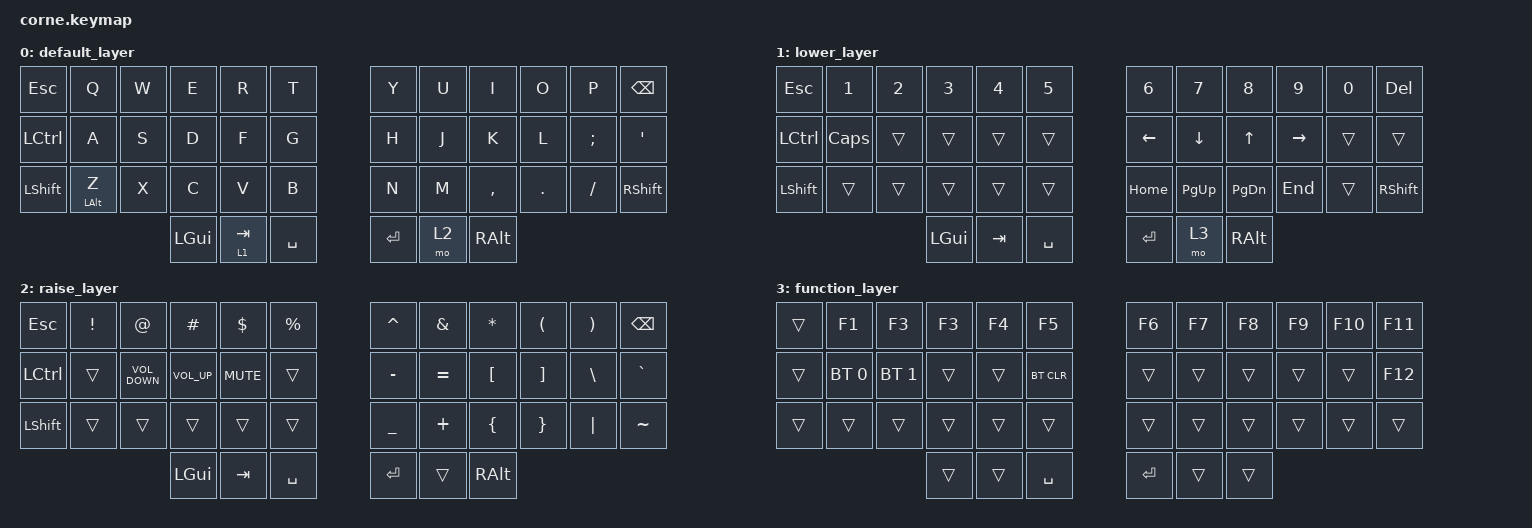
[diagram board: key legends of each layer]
/*
 * Copyright (c) 2020 The ZMK Contributors
 *
 * SPDX-License-Identifier: MIT
 */

#include <behaviors.dtsi>
#include <dt-bindings/zmk/bt.h>
#include <dt-bindings/zmk/keys.h>

/ {
    behaviors {
        thumb_hold_tap_mo_L: thumb_hold_tap_mo_L {
            compatible = "zmk,behavior-hold-tap";
            label = "THUMB_HOLD_TAP_MO_L";
            bindings = <&mo>, <&kp>;

            #binding-cells = <2>;
            tapping-term-ms = <200>;
            require-prior-idle-ms = <125>;
            flavor = "hold-preferred";
            hold-trigger-key-positions = <18 19 20 21 1 2 3 4 5 6 7 8 9 10>;
        };

        hold_tap_kp: hold_tap_kp {
            compatible = "zmk,behavior-hold-tap";
            label = "HOLD_TAP_KP";
            bindings = <&kp>, <&kp>;

            #binding-cells = <2>;
            tapping-term-ms = <200>;
            require-prior-idle-ms = <125>;
            flavor = "tap-preferred";
        };
    };

    keymap {
        compatible = "zmk,keymap";

        default_layer {
            // -----------------------------------------------------------------------------------------
            // |  TAB |  Q  |  W  |  E  |  R  |  T  |   |  Y  |  U   |  I  |  O  |  P  | BSPC |
            // | CTRL |  A  |  S  |  D  |  F  |  G  |   |  H  |  J   |  K  |  L  |  ;  |  '   |
            // | SHFT |  Z  |  X  |  C  |  V  |  B  |   |  N  |  M   |  ,  |  .  |  /  | ESC  |
            //                    | GUI | LWR | SPC |   | ENT | RSE  | ALT |

            bindings = <
&kp ESCAPE      &kp Q                    &kp W  &kp E     &kp R                       &kp T        &kp Y      &kp U  &kp I      &kp O    &kp P     &kp BSPC
&kp LCTRL       &kp A                    &kp S  &kp D     &kp F                       &kp G        &kp H      &kp J  &kp K      &kp L    &kp SEMI  &kp SQT
&kp LEFT_SHIFT  &hold_tap_kp LEFT_ALT Z  &kp X  &kp C     &kp V                       &kp B        &kp N      &kp M  &kp COMMA  &kp DOT  &kp FSLH  &kp RIGHT_SHIFT
                                                &kp LGUI  &thumb_hold_tap_mo_L 1 TAB  &kp SPACE    &kp ENTER  &mo 2  &kp RALT
            >;
        };

        lower_layer {
            // -----------------------------------------------------------------------------------------
            // |  TAB |  1  |  2  |  3  |  4  |  5  |   |  6  |  7  |  8  |  9  |  0  | BSPC |
            // | BTCLR| BT1 | BT2 | BT3 | BT4 | BT5 |   | LFT | DWN |  UP | RGT |     |      |
            // | SHFT |     |     |     |     |     |   |     |     |     |     |     |      |
            //                    | GUI |     | SPC |   | ENT |     | ALT |

            bindings = <
&kp ESCAPE  &kp N1    &kp N2  &kp N3    &kp N4   &kp N5       &kp N6     &kp N7       &kp N8         &kp N9     &kp N0  &kp DEL
&kp LCTRL   &kp CAPS  &trans  &trans    &trans   &trans       &kp LEFT   &kp DOWN     &kp UP         &kp RIGHT  &trans  &trans
&kp LSHFT   &trans    &trans  &trans    &trans   &trans       &kp HOME   &kp PAGE_UP  &kp PAGE_DOWN  &kp END    &trans  &kp RIGHT_SHIFT
                              &kp LGUI  &kp TAB  &kp SPACE    &kp ENTER  &mo 3        &kp RALT
            >;
        };

        raise_layer {
            // -----------------------------------------------------------------------------------------
            // |  TAB |  !  |  @  |  #  |  $  |  %  |   |  ^  |  &  |  *  |  (  |  )  | BSPC |
            // | CTRL |     |     |     |     |     |   |  -  |  =  |  [  |  ]  |  \  |  `   |
            // | SHFT |     |     |     |     |     |   |  _  |  +  |  {  |  }  | "|" |  ~   |
            //                    | GUI |     | SPC |   | ENT |     | ALT |

            bindings = <
&kp ESCAPE  &kp EXCL  &kp AT             &kp HASH         &kp DLLR    &kp PRCNT    &kp CARET  &kp AMPS   &kp ASTRK  &kp LPAR  &kp RPAR  &kp BSPC
&kp LCTRL   &trans    &kp C_VOLUME_DOWN  &kp C_VOLUME_UP  &kp K_MUTE  &trans       &kp MINUS  &kp EQUAL  &kp LBKT   &kp RBKT  &kp BSLH  &kp GRAVE
&kp LSHFT   &trans    &trans             &trans           &trans      &trans       &kp UNDER  &kp PLUS   &kp LBRC   &kp RBRC  &kp PIPE  &kp TILDE
                                         &kp LGUI         &kp TAB     &kp SPACE    &kp ENTER  &trans     &kp RALT
            >;
        };

        function_layer {
            bindings = <
&trans  &kp F1        &kp F3        &kp F3  &kp F4  &kp F5        &kp F6     &kp F7  &kp F8  &kp F9  &kp F10  &kp F11
&trans  &bt BT_SEL 0  &bt BT_SEL 1  &trans  &trans  &bt BT_CLR    &trans     &trans  &trans  &trans  &trans   &kp F12
&trans  &trans        &trans        &trans  &trans  &trans        &trans     &trans  &trans  &trans  &trans   &trans
                                    &trans  &trans  &kp SPACE     &kp ENTER  &trans  &trans
            >;
        };
    };
};
